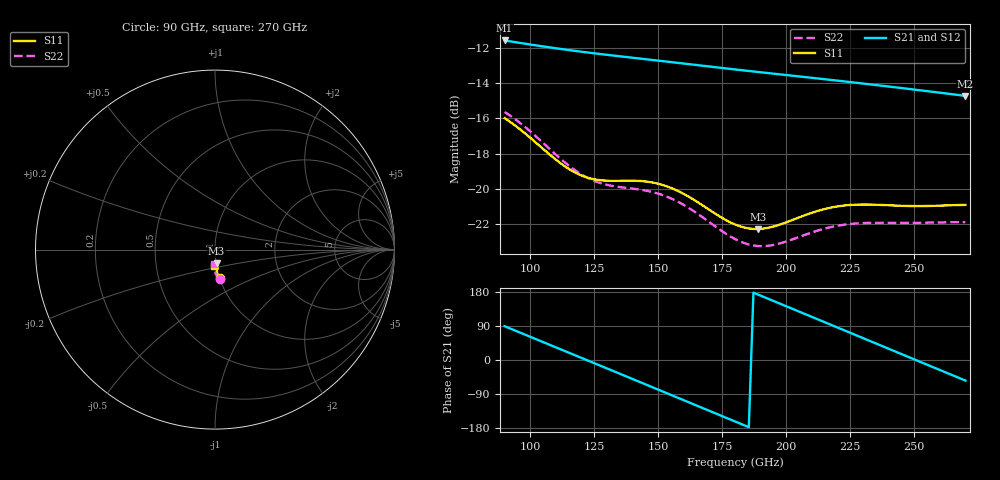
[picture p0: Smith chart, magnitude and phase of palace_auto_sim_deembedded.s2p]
! Created with skrf 1.11.0 (http://scikit-rf.org).
# GHz S DB R 50.0
!freq dBS11 angS11 dBS21 angS21 dBS12 angS12 dBS22 angS22
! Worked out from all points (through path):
!   101 points, 90 GHz to 270 GHz, reference 50 ohm
!   highest |S21| = -11.60 dB at 90 GHz (marker M1); lowest = -14.7 dB at 270 GHz (marker M2)
!   group delay of S21, straight-line fit = 7.77 ps
!   lowest |S11| = -22.3 dB at 189 GHz (marker M3), VSWR 1.17, Z = 50.3 - j7.75 ohm
!   |S11| at or under -10 dB: start of sweep to end of sweep
!   |S22| runs from -23.2 to -15.6 dB; largest |S21 - S12| = 2.3e-13
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90  -15.99 -79.6  -11.60 89.1  -11.60 89.1  -15.65 -80.8
97.2  -16.76 -83.0  -11.77 69.1  -11.77 69.1  -16.40 -85.1
106.2  -17.88 -85.2  -11.96 44.0  -11.96 44.0  -17.55 -88.6
113.4  -18.71 -84.9  -12.11 24.0  -12.11 24.0  -18.48 -89.3
120.6  -19.27 -83.1  -12.25 3.9  -12.25 3.9  -19.23 -88.4
127.8  -19.51 -81.4  -12.37 -16.1  -12.37 -16.1  -19.68 -87.0
135  -19.54 -81.1  -12.50 -36.2  -12.50 -36.2  -19.89 -86.3
144  -19.56 -83.0  -12.64 -61.4  -12.64 -61.4  -20.06 -87.5
151.2  -19.75 -85.6  -12.76 -81.5  -12.76 -81.5  -20.32 -89.7
163.8  -20.60 -89.6  -12.97 -116.8  -12.97 -116.8  -21.25 -93.3
172.8  -21.44 -89.7  -13.12 -142.0  -13.12 -142.0  -22.17 -93.3
180  -22.01 -87.5  -13.24 -162.2  -13.24 -162.2  -22.83 -91.0
189  -22.26 -83.2  -13.38 172.7  -13.38 172.7  -23.23 -86.2
199.8  -21.90 -79.6  -13.55 142.4  -13.55 142.4  -22.98 -81.4
210.6  -21.32 -79.8  -13.72 112.2  -13.72 112.2  -22.43 -80.5
217.8  -21.04 -81.5  -13.84 92.0  -13.84 92.0  -22.14 -81.6
225  -20.90 -83.7  -13.95 71.8  -13.95 71.8  -21.98 -83.2
234  -20.89 -86.4  -14.10 46.6  -14.10 46.6  -21.91 -85.3
241.2  -20.93 -88.1  -14.23 26.4  -14.23 26.4  -21.92 -86.7
248.4  -20.96 -89.4  -14.35 6.2  -14.35 6.2  -21.92 -87.9
255.6  -20.96 -90.7  -14.48 -13.9  -14.48 -13.9  -21.90 -89.1
270  -20.90 -94.1  -14.73 -54.3  -14.73 -54.3  -21.88 -92.0
